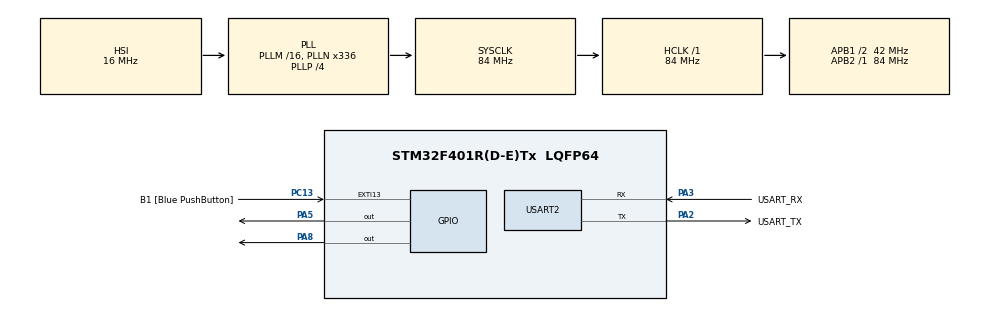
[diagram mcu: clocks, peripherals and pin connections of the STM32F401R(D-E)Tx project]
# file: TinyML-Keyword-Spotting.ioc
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Mcu.Family=STM32F4
Mcu.Name=STM32F401R(D-E)Tx
Mcu.Package=LQFP64
NVIC.PriorityGroup=NVIC_PRIORITYGROUP_4
PA13.GPIO_Label=TMS
PA13.Mode=Trace_Asynchronous_SW
PA13.Signal=SYS_JTMS-SWDIO
PA14.GPIO_Label=TCK
PA14.Mode=Trace_Asynchronous_SW
PA14.Signal=SYS_JTCK-SWCLK
PA2.GPIO_Label=USART_TX
PA2.GPIO_Mode=GPIO_MODE_AF_PP
PA2.GPIO_PuPd=GPIO_NOPULL
PA2.GPIO_Speed=GPIO_SPEED_FREQ_LOW
PA2.Mode=Asynchronous
PA2.Signal=USART2_TX
PA3.GPIO_Label=USART_RX
PA3.GPIO_Mode=GPIO_MODE_AF_PP
PA3.GPIO_PuPd=GPIO_NOPULL
PA3.GPIO_Speed=GPIO_SPEED_FREQ_LOW
PA3.Mode=Asynchronous
PA3.Signal=USART2_RX
PA5.Signal=GPIO_Output
PA8.Signal=GPIO_Output
PB3.GPIO_Label=SWO
PB3.Mode=Trace_Asynchronous_SW
PB3.Signal=SYS_JTDO-SWO
PC13-ANTI_TAMP.GPIO_Label=B1 [Blue PushButton]
PC13-ANTI_TAMP.GPIO_ModeDefaultEXTI=GPIO_MODE_IT_FALLING
PC13-ANTI_TAMP.GPIO_PuPd=GPIO_NOPULL
PC13-ANTI_TAMP.Signal=GPXTI13
PC14-OSC32_IN.Mode=LSE-External-Oscillator
PC14-OSC32_IN.Signal=RCC_OSC32_IN
PC15-OSC32_OUT.Mode=LSE-External-Oscillator
PC15-OSC32_OUT.Signal=RCC_OSC32_OUT
PH0\ -\ OSC_IN.Mode=HSE-External-Clock-Source
PH0\ -\ OSC_IN.Signal=RCC_OSC_IN
PH1\ -\ OSC_OUT.Mode=HSE-External-Clock-Source
PH1\ -\ OSC_OUT.Signal=RCC_OSC_OUT
ProjectManager.HeapSize=0x4000
ProjectManager.StackSize=0x4000
ProjectManager.TargetToolchain=STM32CubeIDE
RCC.48MHZClocksFreq_Value=48000000
RCC.AHBFreq_Value=84000000
RCC.APB1CLKDivider=RCC_HCLK_DIV2
RCC.APB1Freq_Value=42000000
RCC.APB1TimFreq_Value=84000000
RCC.APB2Freq_Value=84000000
RCC.APB2TimFreq_Value=84000000
RCC.CortexFreq_Value=84000000
RCC.HCLKFreq_Value=84000000
RCC.HSE_VALUE=8000000
RCC.HSI_VALUE=16000000
RCC.PLLN=336
RCC.PLLP=RCC_PLLP_DIV4
RCC.PLLQ=7
RCC.SYSCLKFreq_VALUE=84000000
RCC.SYSCLKSource=RCC_SYSCLKSOURCE_PLLCLK
RCC.VCOOutputFreq_Value=336000000
STMicroelectronics.X-CUBE-AI.10.2.0.ActivationBufferSizeList=19976
STMicroelectronics.X-CUBE-AI.10.2.0.ActivationBuffers=pool0
STMicroelectronics.X-CUBE-AI.10.2.0.ActivationNames=pool0
STMicroelectronics.X-CUBE-AI.10.2.0.ActivationSizes=AI_NETWORK_DATA_ACTIVATION_1_SIZE
STMicroelectronics.X-CUBE-AI.10.2.0.ApplicationCcDeviceJjApplication=ApplicationTemplate
STMicroelectronics.X-CUBE-AI.10.2.0.HeapSize=0x4000
STMicroelectronics.X-CUBE-AI.10.2.0.InternalRamActivationBufferMaxSize=AI_NETWORK_DATA_ACTIVATIONS_SIZE
STMicroelectronics.X-CUBE-AI.10.2.0.LatestDirectoryUsed-5dd25eaf502ca493844a4f62c3a4f93c2c82a2e0e4a70e34988446eeb4feab6c=D\:\\
STMicroelectronics.X-CUBE-AI.10.2.0.MaximumNumberOfInputLayer=1
STMicroelectronics.X-CUBE-AI.10.2.0.MaximumNumberOfOutputLayer=1
STMicroelectronics.X-CUBE-AI.10.2.0.MaximumSizeOfInputLayer=1
STMicroelectronics.X-CUBE-AI.10.2.0.MaximumSizeOfOutputLayer=1
STMicroelectronics.X-CUBE-AI.10.2.0.ModelActualCompression-5dd25eaf502ca493844a4f62c3a4f93c2c82a2e0e4a70e34988446eeb4feab6c=0.0
STMicroelectronics.X-CUBE-AI.10.2.0.ModelCompression-5dd25eaf502ca493844a4f62c3a4f93c2c82a2e0e4a70e34988446eeb4feab6c=None
STMicroelectronics.X-CUBE-AI.10.2.0.ModelFlashOccupation-5dd25eaf502ca493844a4f62c3a4f93c2c82a2e0e4a70e34988446eeb4feab6c=345325
STMicroelectronics.X-CUBE-AI.10.2.0.ModelHashList=5dd25eaf502ca493844a4f62c3a4f93c2c82a2e0e4a70e34988446eeb4feab6c
STMicroelectronics.X-CUBE-AI.10.2.0.ModelKind-5dd25eaf502ca493844a4f62c3a4f93c2c82a2e0e4a70e34988446eeb4feab6c=TFLITE
STMicroelectronics.X-CUBE-AI.10.2.0.ModelMacc-5dd25eaf502ca493844a4f62c3a4f93c2c82a2e0e4a70e34988446eeb4feab6c=3712608
STMicroelectronics.X-CUBE-AI.10.2.0.ModelName-5dd25eaf502ca493844a4f62c3a4f93c2c82a2e0e4a70e34988446eeb4feab6c=network
STMicroelectronics.X-CUBE-AI.10.2.0.ModelNameList=network
STMicroelectronics.X-CUBE-AI.10.2.0.ModelRamOccupation-5dd25eaf502ca493844a4f62c3a4f93c2c82a2e0e4a70e34988446eeb4feab6c=19976
STMicroelectronics.X-CUBE-AI.10.2.0.ModelStructureFile-5dd25eaf502ca493844a4f62c3a4f93c2c82a2e0e4a70e34988446eeb4feab6c=D\:\\kws_model_quantized.tflite
STMicroelectronics.X-CUBE-AI.10.2.0.ModelType-5dd25eaf502ca493844a4f62c3a4f93c2c82a2e0e4a70e34988446eeb4feab6c=STM32Cube.AI MCU runtime
STMicroelectronics.X-CUBE-AI.10.2.0.ReadyForCodeGeneration=true
STMicroelectronics.X-CUBE-AI.10.2.0.StackSize=0x4000
STMicroelectronics.X-CUBE-AI.10.2.0.WorkingBufferStartAddrList=0xFFFFFFFF
STMicroelectronics.X-CUBE-AI.10.2.0.XAaCUBEAaAICcArtificialOoIntelligenceJjCore=true
STMicroelectronics.X-CUBE-AI.10.2.0.copyWeightToRam=false
STMicroelectronics.X-CUBE-AI.10.2.0.copyWeightToRam-5dd25eaf502ca493844a4f62c3a4f93c2c82a2e0e4a70e34988446eeb4feab6c=false
STMicroelectronics.X-CUBE-AI.10.2.0.customLayerConfigEnabled=false
STMicroelectronics.X-CUBE-AI.10.2.0.customLayerConfigEnabled-5dd25eaf502ca493844a4f62c3a4f93c2c82a2e0e4a70e34988446eeb4feab6c=false
STMicroelectronics.X-CUBE-AI.10.2.0.noOnnxIoTranspose=false
STMicroelectronics.X-CUBE-AI.10.2.0.noOnnxIoTranspose-5dd25eaf502ca493844a4f62c3a4f93c2c82a2e0e4a70e34988446eeb4feab6c=false
STMicroelectronics.X-CUBE-AI.10.2.0.useInputAllocation=true
STMicroelectronics.X-CUBE-AI.10.2.0.useInputAllocation-5dd25eaf502ca493844a4f62c3a4f93c2c82a2e0e4a70e34988446eeb4feab6c=true
STMicroelectronics.X-CUBE-AI.10.2.0.useOutputAllocation=true
STMicroelectronics.X-CUBE-AI.10.2.0.useOutputAllocation-5dd25eaf502ca493844a4f62c3a4f93c2c82a2e0e4a70e34988446eeb4feab6c=true
USART2.VirtualMode=VM_ASYNC
VP_CRC_VS_CRC.Mode=CRC_Activate
VP_STMicroelectronics.X-CUBE-AI_VS_ArtificialOoIntelligenceJjXAaCUBEAaAI_10.2.0.Mode=ArtificialOoIntelligenceJjXAaCUBEAaAI
VP_STMicroelectronics.X-CUBE-AI_VS_DeviceJjApplication_10.2.0.Mode=DeviceJjApplication
board=NUCLEO-F401RE

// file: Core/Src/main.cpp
/* USER CODE BEGIN Header */
/**
  ******************************************************************************
  * @file           : main.c
  * @brief          : Main program body
  ******************************************************************************
  * @attention
  *
  * Copyright (c) 2026 STMicroelectronics.
  * All rights reserved.
  *
  * This software is licensed under terms that can be found in the LICENSE file
  * in the root directory of this software component.
  * If no LICENSE file comes with this software, it is provided AS-IS.
  *
  ******************************************************************************
  */
/* USER CODE END Header */
#include "main.h"

/* USER CODE BEGIN Includes */
extern "C" {
    #include "app_x-cube-ai.h"
}
/* USER CODE END Includes */

UART_HandleTypeDef huart2;

/* USER CODE BEGIN PV */
int8_t audio_buffer[15996];
/* USER CODE END PV */
void SystemClock_Config(void);
static void MX_GPIO_Init(void);
static void MX_USART2_UART_Init(void);
extern "C" int MX_X_CUBE_AI_Process_Audio(int8_t* in_data);

extern "C" int main(void)
{

  /* MCU Configuration--------------------------------------------------------*/

  /* Reset of all peripherals, Initializes the Flash interface and the Systick. */
  HAL_Init();

  /* Configure the system clock */
  SystemClock_Config();

  /* Initialize all configured peripherals */
  MX_GPIO_Init();
  MX_USART2_UART_Init();
  /* USER CODE BEGIN 2 */
  __HAL_RCC_CRC_CLK_ENABLE();
  MX_X_CUBE_AI_Init();
  /* USER CODE END 2 */

  /* Infinite loop */
   /* USER CODE BEGIN WHILE */
  //uint8_t trigger_byte = 0;

  while (1)
    {
        // 1. Wait for 16,000 bytes, but TIMEOUT after 3 seconds instead of waiting forever!
	  // Inside your while(1) loop:
	  if (HAL_UART_Receive(&huart2, (uint8_t*)audio_buffer, 15996, 3000) == HAL_OK)
        {
            // 2. Feed the audio to the AI!
            int predicted_word = MX_X_CUBE_AI_Process_Audio(audio_buffer);

            // 3. Blink the LED to tell us exactly what class it predicted!
            // Class 0 = 1 Blink
            // Class 1 = 2 Blinks
            // Class 2 = 3 Blinks
            // Class 3 = 4 Blinks
            for(int i = 0; i <= predicted_word; i++)
            {
                HAL_GPIO_WritePin(GPIOA, GPIO_PIN_5, GPIO_PIN_SET);
                HAL_Delay(250);
                HAL_GPIO_WritePin(GPIOA, GPIO_PIN_5, GPIO_PIN_RESET);
                HAL_Delay(250);
            }

            // Pause for a second before listening to the next word
            HAL_Delay(1000);
        }
        else
        {
            // If the USB cable dropped a byte and timed out, clear the error so it doesn't freeze!
            __HAL_UART_CLEAR_OREFLAG(&huart2);
        }
    }
      /* USER CODE END WHILE */
  /* USER CODE END 3 */
}

void SystemClock_Config(void)
{
  RCC_OscInitTypeDef RCC_OscInitStruct = {0};
  RCC_ClkInitTypeDef RCC_ClkInitStruct = {0};

  /** Configure the main internal regulator output voltage
  */
  __HAL_RCC_PWR_CLK_ENABLE();
  __HAL_PWR_VOLTAGESCALING_CONFIG(PWR_REGULATOR_VOLTAGE_SCALE2);

  /** Initializes the RCC Oscillators according to the specified parameters
  * in the RCC_OscInitTypeDef structure.
  */
  RCC_OscInitStruct.OscillatorType = RCC_OSCILLATORTYPE_HSI;
  RCC_OscInitStruct.HSIState = RCC_HSI_ON;
  RCC_OscInitStruct.HSICalibrationValue = RCC_HSICALIBRATION_DEFAULT;
  RCC_OscInitStruct.PLL.PLLState = RCC_PLL_ON;
  RCC_OscInitStruct.PLL.PLLSource = RCC_PLLSOURCE_HSI;
  RCC_OscInitStruct.PLL.PLLM = 16;
  RCC_OscInitStruct.PLL.PLLN = 336;
  RCC_OscInitStruct.PLL.PLLP = RCC_PLLP_DIV4;
  RCC_OscInitStruct.PLL.PLLQ = 7;
  if (HAL_RCC_OscConfig(&RCC_OscInitStruct) != HAL_OK)
  {
    Error_Handler();
  }

  /** Initializes the CPU, AHB and APB buses clocks
  */
  RCC_ClkInitStruct.ClockType = RCC_CLOCKTYPE_HCLK|RCC_CLOCKTYPE_SYSCLK
                              |RCC_CLOCKTYPE_PCLK1|RCC_CLOCKTYPE_PCLK2;
  RCC_ClkInitStruct.SYSCLKSource = RCC_SYSCLKSOURCE_PLLCLK;
  RCC_ClkInitStruct.AHBCLKDivider = RCC_SYSCLK_DIV1;
  RCC_ClkInitStruct.APB1CLKDivider = RCC_HCLK_DIV2;
  RCC_ClkInitStruct.APB2CLKDivider = RCC_HCLK_DIV1;

  if (HAL_RCC_ClockConfig(&RCC_ClkInitStruct, FLASH_LATENCY_2) != HAL_OK)
  {
    Error_Handler();
  }
}

static void MX_USART2_UART_Init(void)
{

  huart2.Instance = USART2;
  huart2.Init.BaudRate = 115200;
  huart2.Init.WordLength = UART_WORDLENGTH_8B;
  huart2.Init.StopBits = UART_STOPBITS_1;
  huart2.Init.Parity = UART_PARITY_NONE;
  huart2.Init.Mode = UART_MODE_TX_RX;
  huart2.Init.HwFlowCtl = UART_HWCONTROL_NONE;
  huart2.Init.OverSampling = UART_OVERSAMPLING_16;
  if (HAL_UART_Init(&huart2) != HAL_OK)
  {
    Error_Handler();
  }

}

static void MX_GPIO_Init(void)
{
  GPIO_InitTypeDef GPIO_InitStruct = {0};

  /* GPIO Ports Clock Enable */
  __HAL_RCC_GPIOC_CLK_ENABLE();
  __HAL_RCC_GPIOH_CLK_ENABLE();
  __HAL_RCC_GPIOA_CLK_ENABLE();
  __HAL_RCC_GPIOB_CLK_ENABLE();

  /*Configure GPIO pin Output Level */
  HAL_GPIO_WritePin(GPIOA, GPIO_PIN_5|GPIO_PIN_8, GPIO_PIN_RESET);

  /*Configure GPIO pin : B1_Pin */
  GPIO_InitStruct.Pin = B1_Pin;
  GPIO_InitStruct.Mode = GPIO_MODE_IT_FALLING;
  GPIO_InitStruct.Pull = GPIO_NOPULL;
  HAL_GPIO_Init(B1_GPIO_Port, &GPIO_InitStruct);

  /*Configure GPIO pins : PA5 PA8 */
  GPIO_InitStruct.Pin = GPIO_PIN_5|GPIO_PIN_8;
  GPIO_InitStruct.Mode = GPIO_MODE_OUTPUT_PP;
  GPIO_InitStruct.Pull = GPIO_NOPULL;
  GPIO_InitStruct.Speed = GPIO_SPEED_FREQ_LOW;
  HAL_GPIO_Init(GPIOA, &GPIO_InitStruct);

}

void Error_Handler(void)
{
  __disable_irq();
  while (1)
  {
  }
}
